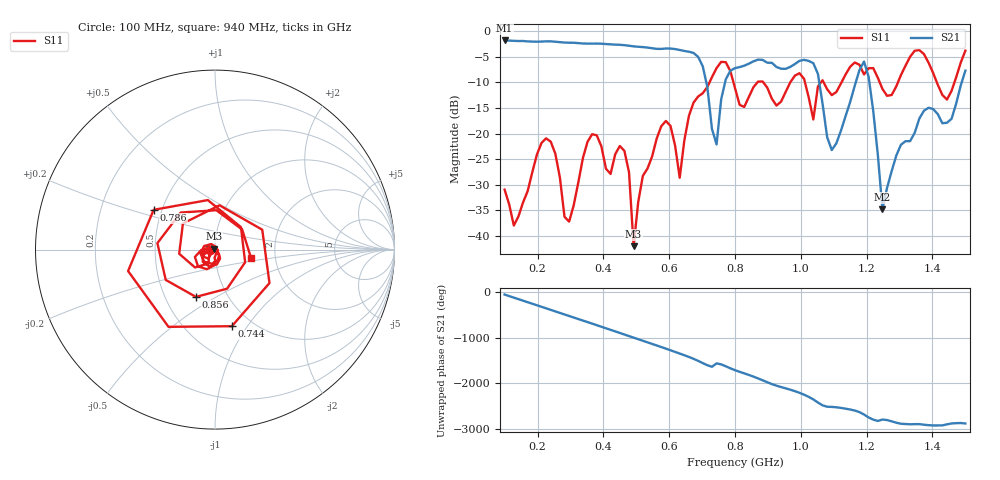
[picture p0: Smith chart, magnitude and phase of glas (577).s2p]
! NanoVNA-App
! Date: 2025-09-25 15:59:58
! Start: 100MHz Stop: 1,5GHz Points: 101
! S-Parameter data: F S11 S21 S12 S22
# Hz S RI R 50
!  Frequency  S11_Real  S11_Imag  S21_Real  S21_Imag  S12_Real  S12_Imag  S22_Real  S22_Imag
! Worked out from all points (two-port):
!   101 points, 100 MHz to 1.5 GHz, reference 50 ohm
!   highest |S21| = -1.80 dB at 100 MHz (marker M1); lowest = -34.8 dB at 1.248 GHz (marker M2)
!   |S21| within 3 dB of the highest: start of sweep to 684.3 MHz
!   lowest |S11| = -42.0 dB at 492 MHz (marker M3), VSWR 1.02, Z = 49.5 + j0.606 ohm
!   |S11| at or under -10 dB: start of sweep to 722.5 MHz; 795.3 MHz to 867.9 MHz (72.54 MHz wide, 8.72 % of centre); 886.1 MHz to 967.8 MHz (81.62 MHz wide, 8.81 % of centre) (the widest 3 of 7)
!   S12 and S22 are empty: the file has one direction only
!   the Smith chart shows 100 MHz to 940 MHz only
!   S11 on the Smith chart (normalised r, x): 100 MHz: 0.95, -0.01; 744 MHz: 0.81, -0.85; 786 MHz: 0.45, +0.24; 856 MHz: 0.71, -0.41; 940 MHz: 1.49, -0.14
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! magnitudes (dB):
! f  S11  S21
! 100 MHz  -30.9  -1.8
! 128 MHz  -37.9  -1.9
! 226 MHz  -20.9  -2.0
! 296 MHz  -37.2  -2.2
! 338 MHz  -24.7  -2.4
! 464 MHz  -23.4  -2.7
! 492 MHz  -42.0  -3.0
! 576 MHz  -18.5  -3.5
! 632 MHz  -28.6  -3.7
! 702 MHz  -12.1  -6.8
! 744 MHz  -7.2  -22.1
! 786 MHz  -7.8  -7.7
! 800 MHz  -11.1  -7.2
! 856 MHz  -10.9  -5.9
! 940 MHz  -13.7  -7.3
! 996 MHz  -8.2  -5.8
! 1.038 GHz  -17.2  -6.2
! 1.094 GHz  -12.5  -23.2
! 1.192 GHz  -8.4  -5.9
! 1.248 GHz  -11.3  -34.8
! 1.276 GHz  -12.5  -27.3
! 1.5 GHz  -3.8  -7.7
